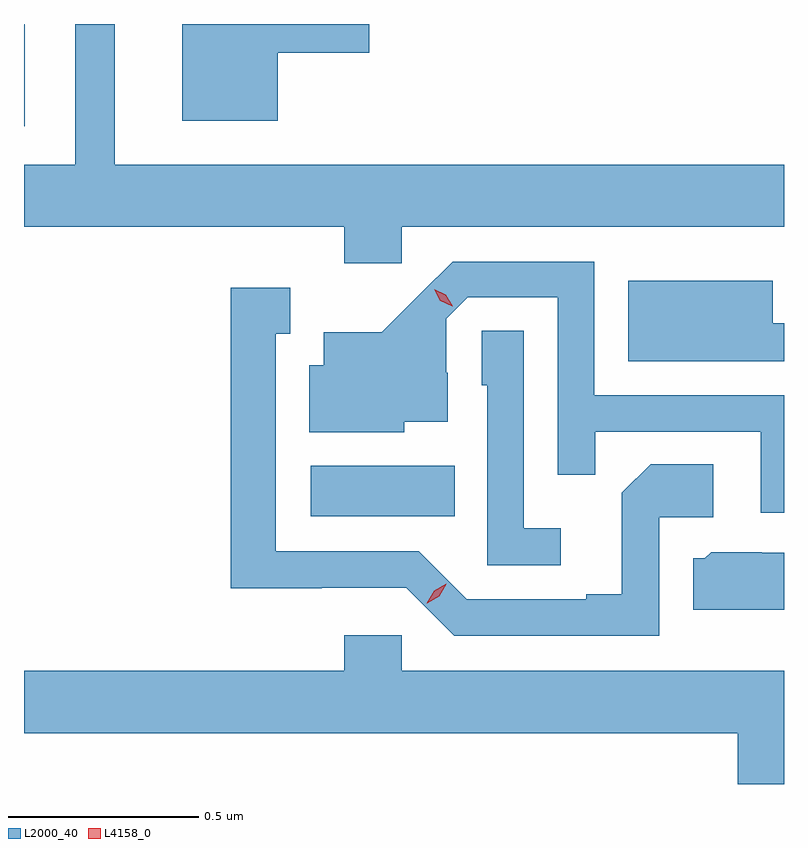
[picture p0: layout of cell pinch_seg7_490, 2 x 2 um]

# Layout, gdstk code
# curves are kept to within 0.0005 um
import gdstk
lib = gdstk.Library(unit=1e-6, precision=1e-09)
def R(c, l, rs):  # rectangles x0, y0, x1, y1
    for r in rs: c.add(gdstk.rectangle(r[:2], r[2:], *l))
def P(c, l, *ps):  # polygons
    for p in ps: c.add(gdstk.Polygon(p, *l))
L2000_40 = (2000, 40)
L4158_0 = (4158, 0)

pinch_seg7_490 = lib.new_cell('pinch_seg7_490')
R(pinch_seg7_490, L2000_40, [(185.328,1062.458,185.708,1062.592), (184.574,1063.485,184.576,1063.754)])
P(pinch_seg7_490, L2000_40, [(185.568,1063.22),(186.574,1063.22),(186.574,1063.384),(184.813,1063.384),(184.813,1063.754),(184.709,1063.754),(184.709,1063.384),(184.574,1063.384),(184.574,1063.22),(185.417,1063.22),(185.417,1063.125),(185.568,1063.125)],
  [(185.242,1063.678),(185.483,1063.678),(185.483,1063.754),(184.991,1063.754),(184.991,1063.499),(185.242,1063.499)],
  [(186.574,1062.777),(186.075,1062.777),(186.075,1063.128),(185.702,1063.128),(185.515,1062.943),(185.363,1062.943),(185.363,1062.856),(185.324,1062.856),(185.324,1062.68),(185.574,1062.68),(185.574,1062.707),(185.689,1062.707),(185.689,1062.836),(185.685,1062.836),(185.685,1062.978),(185.742,1063.035),(185.979,1063.035),(185.979,1062.568),(186.077,1062.568),(186.077,1062.681),(186.513,1062.681),(186.513,1062.468),(186.574,1062.468)],
  [(186.574,1062.967),(186.544,1062.967),(186.544,1063.078),(186.164,1063.078),(186.164,1062.866),(186.574,1062.866)],
  [(186.246,1062.456),(186.388,1062.456),(186.388,1062.596),(186.223,1062.596),(186.147,1062.52),(186.147,1062.253),(186.053,1062.253),(186.053,1062.24),(185.739,1062.24),(185.613,1062.366),(185.236,1062.366),(185.236,1062.939),(185.275,1062.939),(185.275,1063.06),(185.118,1063.06),(185.118,1062.269),(185.358,1062.269),(185.358,1062.27),(185.58,1062.27),(185.706,1062.144),(186.246,1062.144)],
  [(185.986,1062.427),(185.889,1062.427),(185.889,1062.947),(185.778,1062.947),(185.778,1062.804),(185.793,1062.804),(185.793,1062.33),(185.986,1062.33)],
  [(186.574,1062.363),(186.516,1062.363),(186.516,1062.364),(186.382,1062.364),(186.366,1062.348),(186.335,1062.348),(186.335,1062.212),(186.574,1062.212)],
  [(186.574,1062.052),(185.568,1062.052),(185.568,1062.145),(185.417,1062.145),(185.417,1062.052),(184.574,1062.052),(184.574,1061.888),(186.452,1061.888),(186.452,1061.754),(186.574,1061.754)])
P(pinch_seg7_490, L4158_0, [(185.701,1063.011),(185.67,1063.026),(185.653,1063.056),(185.653,1063.056),(185.653,1063.056),(185.684,1063.041),(185.702,1063.011),(185.702,1063.011)],
  [(185.634,1062.23),(185.634,1062.23),(185.653,1062.262),(185.685,1062.281),(185.685,1062.281),(185.685,1062.28),(185.667,1062.248),(185.635,1062.23)])

lib.write_gds('pinch_seg7_490.gds')
